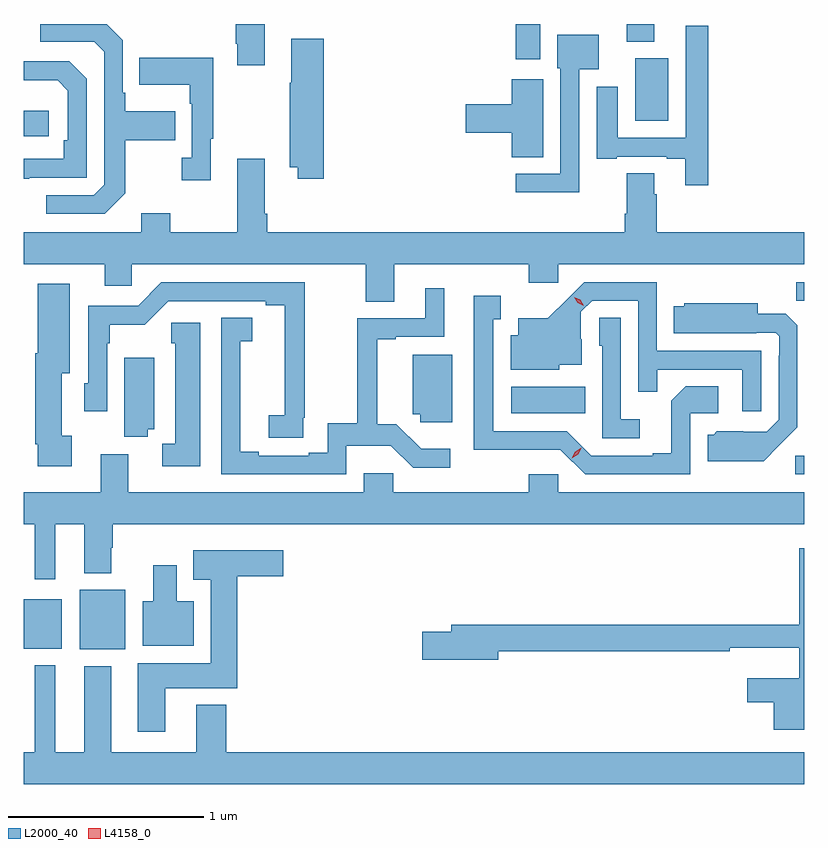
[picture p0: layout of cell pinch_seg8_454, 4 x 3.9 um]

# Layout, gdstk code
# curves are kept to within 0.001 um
import gdstk
lib = gdstk.Library(unit=1e-6, precision=1e-09)
def R(c, l, rs):  # rectangles x0, y0, x1, y1
    for r in rs: c.add(gdstk.rectangle(r[:2], r[2:], *l))
def P(c, l, *ps):  # polygons
    for p in ps: c.add(gdstk.Polygon(p, *l))
L2000_40 = (2000, 40)
L4158_0 = (4158, 0)

pinch_seg8_454 = lib.new_cell('pinch_seg8_454')
R(pinch_seg8_454, L2000_40, [(193.772,1122.518,194.005,1122.823), (193.485,1122.521,193.678,1122.775), (197.439,1123.416,197.485,1123.512), (195.984,1123.73,196.364,1123.864), (197.446,1124.305,197.485,1124.4), (193.485,1125.15,193.612,1125.28), (196.619,1125.23,196.789,1125.55), (196.007,1125.543,196.132,1125.725), (196.577,1125.635,196.717,1125.725)])
P(pinch_seg8_454, L2000_40, [(194.005,1124.857),(194.005,1125.13),(194.261,1125.13),(194.261,1125.277),(194.005,1125.277),(194.005,1125.373),(193.992,1125.373),(193.992,1125.642),(193.909,1125.725),(193.569,1125.725),(193.569,1125.633),(193.845,1125.633),(193.896,1125.582),(193.896,1124.901),(193.842,1124.847),(193.599,1124.847),(193.599,1124.751),(193.899,1124.751)],
  [(194.719,1125.725),(194.572,1125.725),(194.572,1125.625),(194.579,1125.625),(194.579,1125.513),(194.719,1125.513)],
  [(196.994,1125.715),(196.878,1125.715),(196.878,1125.141),(196.531,1125.141),(196.531,1125.403),(196.421,1125.403),(196.421,1125.033),(196.525,1125.033),(196.525,1125.045),(196.781,1125.045),(196.781,1125.033),(196.877,1125.033),(196.877,1124.898),(196.994,1124.898)],
  [(196.332,1125.494),(196.432,1125.494),(196.432,1125.67),(196.22,1125.67),(196.22,1125.498),(196.236,1125.498),(196.236,1124.958),(196.008,1124.958),(196.008,1124.861),(196.332,1124.861)],
  [(195.023,1125.649),(194.855,1125.649),(194.855,1125.425),(194.848,1125.425),(194.848,1124.99),(194.888,1124.99),(194.888,1124.931),(195.023,1124.931)],
  [(194.443,1125.137),(194.455,1125.137),(194.455,1125.553),(194.077,1125.553),(194.077,1125.413),(194.334,1125.413),(194.334,1125.317),(194.346,1125.317),(194.346,1125.038),(194.295,1125.038),(194.295,1124.925),(194.443,1124.925)],
  [(193.511,1124.937),(193.806,1124.937),(193.806,1125.444),(193.716,1125.534),(193.485,1125.534),(193.485,1125.437),(193.657,1125.437),(193.71,1125.384),(193.71,1125.13),(193.69,1125.13),(193.69,1125.033),(193.485,1125.033),(193.485,1124.932),(193.511,1124.932)],
  [(196.147,1125.442),(195.986,1125.442),(195.986,1125.314),(195.75,1125.314),(195.75,1125.167),(195.986,1125.167),(195.986,1125.043),(196.147,1125.043)],
  [(195.385,1124.492),(196.073,1124.492),(196.073,1124.397),(196.224,1124.397),(196.224,1124.492),(197.485,1124.492),(197.485,1124.656),(196.73,1124.656),(196.73,1124.852),(196.717,1124.852),(196.717,1124.96),(196.577,1124.96),(196.577,1124.752),(196.565,1124.752),(196.565,1124.656),(194.732,1124.656),(194.732,1124.752),(194.719,1124.752),(194.719,1125.034),(194.579,1125.034),(194.579,1124.656),(194.235,1124.656),(194.235,1124.755),(194.087,1124.755),(194.087,1124.656),(193.485,1124.656),(193.485,1124.492),(193.898,1124.492),(193.898,1124.382),(194.037,1124.382),(194.037,1124.492),(195.238,1124.492),(195.238,1124.302),(195.385,1124.302)],
  [(194.918,1123.705),(194.924,1123.705),(194.924,1124.4),(194.19,1124.4),(194.07,1124.28),(193.815,1124.28),(193.815,1123.884),(193.794,1123.884),(193.794,1123.74),(193.911,1123.74),(193.911,1124.087),(193.924,1124.087),(193.924,1124.183),(194.105,1124.183),(194.226,1124.304),(194.726,1124.304),(194.726,1124.284),(194.822,1124.284),(194.821,1123.718),(194.739,1123.718),(194.739,1123.603),(194.918,1123.603)],
  [(197.265,1124.049),(196.731,1124.049),(196.731,1124.4),(196.358,1124.4),(196.171,1124.215),(196.019,1124.215),(196.019,1124.128),(195.98,1124.128),(195.98,1123.952),(196.23,1123.952),(196.23,1123.979),(196.345,1123.979),(196.345,1124.108),(196.341,1124.108),(196.341,1124.25),(196.398,1124.307),(196.635,1124.307),(196.635,1123.84),(196.733,1123.84),(196.733,1123.953),(197.169,1123.953),(197.169,1123.74),(197.265,1123.74)],
  [(193.729,1123.614),(193.678,1123.614),(193.678,1123.934),(193.72,1123.934),(193.72,1124.392),(193.556,1124.392),(193.556,1124.038),(193.544,1124.038),(193.544,1123.57),(193.556,1123.57),(193.556,1123.458),(193.729,1123.458)],
  [(195.138,1123.562),(195.367,1123.562),(195.48,1123.449),(195.67,1123.449),(195.67,1123.546),(195.521,1123.546),(195.395,1123.672),(195.296,1123.672),(195.296,1124.109),(195.391,1124.109),(195.391,1124.121),(195.64,1124.121),(195.64,1124.371),(195.542,1124.371),(195.542,1124.217),(195.193,1124.217),(195.193,1123.679),(195.042,1123.679),(195.042,1123.526),(194.945,1123.526),(194.945,1123.512),(194.689,1123.512),(194.689,1123.532),(194.593,1123.532),(194.593,1123.795),(194.595,1123.795),(194.595,1124.099),(194.656,1124.099),(194.656,1124.219),(194.496,1124.219),(194.496,1123.416),(195.138,1123.416)],
  [(196.902,1123.728),(197.044,1123.728),(197.044,1123.868),(196.879,1123.868),(196.803,1123.792),(196.803,1123.525),(196.709,1123.525),(196.709,1123.512),(196.395,1123.512),(196.269,1123.638),(195.892,1123.638),(195.892,1124.211),(195.931,1124.211),(195.931,1124.332),(195.791,1124.332),(195.791,1123.541),(196.236,1123.542),(196.362,1123.416),(196.902,1123.416)],
  [(197.359,1123.565),(197.451,1123.658),(197.451,1124.18),(197.392,1124.239),(197.248,1124.239),(197.248,1124.293),(196.872,1124.293),(196.872,1124.278),(196.816,1124.278),(196.816,1124.138),(197.24,1124.138),(197.24,1124.142),(197.34,1124.142),(197.358,1124.124),(197.358,1124.024),(197.355,1124.024),(197.355,1123.695),(197.295,1123.635),(197.038,1123.636),(197.022,1123.62),(196.991,1123.62),(196.991,1123.484),(197.279,1123.484)],
  [(196.642,1123.699),(196.545,1123.699),(196.545,1124.219),(196.434,1124.219),(196.434,1124.076),(196.449,1124.076),(196.449,1123.602),(196.642,1123.602)],
  [(194.389,1124.194),(194.239,1124.194),(194.239,1124.088),(194.261,1124.088),(194.261,1123.572),(194.193,1123.572),(194.193,1123.457),(194.389,1123.457)],
  [(195.682,1124.029),(195.479,1124.029),(195.479,1123.724),(195.516,1123.724),(195.516,1123.682),(195.682,1123.682)],
  [(194.12,1123.646),(194.152,1123.646),(194.152,1124.014),(194,1124.014),(194,1123.609),(194.12,1123.609)],
  [(193.645,1123.16),(193.793,1123.16),(193.793,1122.908),(193.933,1122.908),(193.933,1123.04),(193.941,1123.04),(193.941,1123.16),(197.485,1123.16),(197.485,1123.324),(196.224,1123.324),(196.224,1123.417),(196.073,1123.417),(196.073,1123.324),(195.379,1123.324),(195.379,1123.422),(195.227,1123.422),(195.227,1123.324),(194.02,1123.324),(194.02,1123.519),(193.88,1123.519),(193.88,1123.324),(193.485,1123.324),(193.485,1123.16),(193.541,1123.16),(193.541,1122.879),(193.645,1122.879)],
  [(197.485,1123.036),(197.46,1123.036),(197.46,1122.644),(195.677,1122.644),(195.677,1122.608),(195.528,1122.608),(195.528,1122.466),(195.916,1122.466),(195.916,1122.508),(197.105,1122.508),(197.105,1122.527),(197.46,1122.527),(197.46,1122.37),(197.193,1122.37),(197.193,1122.248),(197.33,1122.248),(197.33,1122.107),(197.485,1122.107)],
  [(194.209,1122.32),(194.579,1122.32),(194.579,1122.893),(194.815,1122.893),(194.815,1123.027),(194.354,1123.027),(194.354,1122.875),(194.444,1122.875),(194.444,1122.448),(194.069,1122.448),(194.069,1122.096),(194.209,1122.096)],
  [(194.356,1122.766),(194.269,1122.766),(194.269,1122.949),(194.147,1122.949),(194.147,1122.766),(194.093,1122.766),(194.093,1122.536),(194.356,1122.536)],
  [(197.485,1121.992),(194.522,1121.992),(194.522,1122.235),(194.369,1122.235),(194.369,1121.992),(193.933,1121.992),(193.933,1122.433),(193.793,1122.433),(193.793,1121.992),(193.645,1121.992),(193.645,1122.436),(193.541,1122.436),(193.541,1121.992),(193.485,1121.992),(193.485,1121.828),(197.485,1121.828)])
P(pinch_seg8_454, L4158_0, [(196.355,1124.28),(196.324,1124.295),(196.307,1124.325),(196.307,1124.325),(196.307,1124.325),(196.338,1124.31),(196.355,1124.28),(196.355,1124.28)],
  [(196.294,1123.498),(196.294,1123.499),(196.311,1123.532),(196.343,1123.551),(196.343,1123.551),(196.343,1123.55),(196.326,1123.518),(196.294,1123.498)])

lib.write_gds('pinch_seg8_454.gds')
